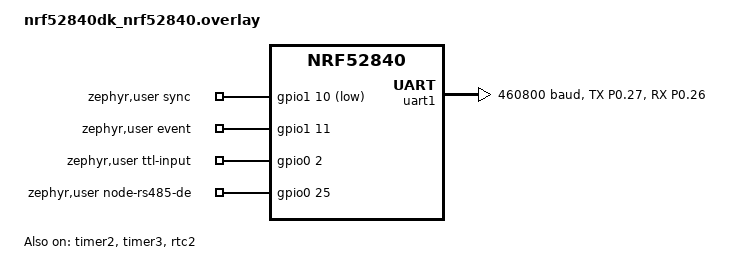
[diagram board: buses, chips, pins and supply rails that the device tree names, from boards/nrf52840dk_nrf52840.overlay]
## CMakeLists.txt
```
cmake_minimum_required(VERSION 3.20.0)
find_package(Zephyr REQUIRED HINTS $ENV{ZEPHYR_BASE})

project(hub)

target_sources(app PRIVATE src/main.c)
```

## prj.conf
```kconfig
CONFIG_I2C=y
CONFIG_SERIAL=y
CONFIG_CONSOLE=y
CONFIG_UART_CONSOLE=y
CONFIG_PRINTK=y
CONFIG_CBPRINTF_FULL_INTEGRAL=y

# Direct nrfx ownership of the hardware SYNC path and RTC mirror.
CONFIG_GPIO=n
CONFIG_NRFX_GPIOTE=y
CONFIG_NRFX_GPPI=y
CONFIG_NRFX_TIMER=y
CONFIG_NRFX_RTC=y

CONFIG_CLOCK_CONTROL=y
CONFIG_CLOCK_CONTROL_NRF=y
CONFIG_CLOCK_CONTROL_NRF_K32SRC_XTAL=y

CONFIG_BT=y
CONFIG_BT_CENTRAL=y
CONFIG_BT_PERIPHERAL=y
CONFIG_BT_DEVICE_NAME="hub"
CONFIG_BT_MAX_CONN=2
CONFIG_BT_GATT_CLIENT=y
CONFIG_BT_CTLR_SDC_PERIPHERAL_COUNT=1
CONFIG_BT_CTLR_SDC_CONN_ANCHOR_POINT_REPORT=y
CONFIG_BT_HCI_VS_EVT_USER=y
CONFIG_NRFX_GPIOTE_NUM_OF_EVT_HANDLERS=2

# The ttl_generator report is a 40-byte ATT notification, requiring MTU >= 43.
CONFIG_BT_L2CAP_TX_MTU=64
CONFIG_BT_BUF_ACL_RX_SIZE=68
CONFIG_BT_BUF_ACL_TX_SIZE=68

CONFIG_MAIN_STACK_SIZE=6144
CONFIG_SYSTEM_WORKQUEUE_STACK_SIZE=6144
CONFIG_ASSERT=y
CONFIG_LOG=n
CONFIG_UART_ASYNC_API=y

# TTL generator return TTL is now 3.3 V and uses digital GPIOTE, not COMP.
CONFIG_COMPARATOR=n
```

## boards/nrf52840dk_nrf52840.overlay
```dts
#include <zephyr/dt-bindings/gpio/gpio.h>
#include <zephyr/dt-bindings/pinctrl/nrf-pinctrl.h>

/ {
    zephyr,user {
        /* Hub hardware synchronization output to every node. */
        sync-gpios = <&gpio1 10 GPIO_ACTIVE_LOW>;

        /* Shared external event input. */
        event-gpios = <&gpio1 11 GPIO_ACTIVE_HIGH>;

        /* TTL generator is now 3.3 V: use a normal digital GPIOTE input. */
        ttl-input-gpios = <&gpio0 2 GPIO_ACTIVE_HIGH>;

        /* THVD1410 DE and /RE tied together: low=receive, high=transmit. */
        node-rs485-de-gpios = <&gpio0 25 GPIO_ACTIVE_HIGH>;
    };
};

&pinctrl {
    node_uart1_default: node_uart1_default {
        group1 {
            /* P0.27 -> THVD1410 D. */
            psels = <NRF_PSEL(UART_TX, 0, 27)>;
        };

        group2 {
            /* P0.26 <- THVD1410 R. */
            psels = <NRF_PSEL(UART_RX, 0, 26)>;
            bias-pull-up;
        };
    };

    node_uart1_sleep: node_uart1_sleep {
        group1 {
            psels = <NRF_PSEL(UART_TX, 0, 27)>,
                    <NRF_PSEL(UART_RX, 0, 26)>;
            low-power-enable;
        };
    };
};

&uart1 {
    compatible = "nordic,nrf-uarte";
    status = "okay";
    current-speed = <460800>;
    pinctrl-0 = <&node_uart1_default>;
    pinctrl-1 = <&node_uart1_sleep>;
    pinctrl-names = "default", "sleep";
};

&timer2 {
    status = "okay";
};

&timer3 {
    status = "okay";
};

&rtc2 {
    status = "okay";
};
```

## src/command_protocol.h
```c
#ifndef COMMAND_PROTOCOL_H
#define COMMAND_PROTOCOL_H

#include <stdint.h>

/* Fits in one ATT write/notification at the default 23-byte ATT MTU. */
#define HOST_FRAME_MAGIC 0xAD1EU
#define HOST_FRAME_VERSION 1U
#define HOST_FRAME_SIZE 20U

/* Requests sent from Host to the hub. */
#define HOST_MSG_CLOCK_SYNC_REQUEST 0x01U
#define HOST_MSG_NODE_DO_NOW_REQUEST 0x02U

/* Clock reply: timestamp=t2, value=(t3-t2) in the hub ticks. */
#define HOST_MSG_CLOCK_REPLY 0x81U

/* Command-stage notifications sent from the hub to Host. */
#define HOST_MSG_COMMAND_HUB_RX 0x90U
#define HOST_MSG_COMMAND_NODE_TX_START 0x91U
#define HOST_MSG_COMMAND_NODE_RX 0x92U
#define HOST_MSG_COMMAND_NODE_EXEC 0x93U
#define HOST_MSG_COMMAND_HUB_ACK_RX 0x94U
#define HOST_MSG_COMMAND_HUB_DONE_TX 0x95U
#define HOST_MSG_ERROR 0xFFU

#define HOST_STATUS_OK 0U
#define HOST_STATUS_BUSY 1U
#define HOST_STATUS_BAD_FRAME 2U
#define HOST_STATUS_I2C_WRITE_FAILED 3U
#define HOST_STATUS_TIMEOUT 4U
#define HOST_STATUS_NODE_MODEL_INVALID 5U
#define HOST_STATUS_TOKEN_MISMATCH 6U
#define HOST_STATUS_NOTIFY_FAILED 7U

/*
 * Compatibility aliases for older Host scripts. The wire values do not
 * change, so old and new software can interoperate during migration.
 */
#define HOST_MSG_REWARD_DO_NOW_REQUEST HOST_MSG_NODE_DO_NOW_REQUEST
#define HOST_MSG_COMMAND_I2C_TX_START HOST_MSG_COMMAND_NODE_TX_START
#define HOST_MSG_COMMAND_REWARD_RX HOST_MSG_COMMAND_NODE_RX
#define HOST_MSG_COMMAND_REWARD_EXEC HOST_MSG_COMMAND_NODE_EXEC
#define HOST_STATUS_REWARD_MODEL_INVALID HOST_STATUS_NODE_MODEL_INVALID

/*
 * Little-endian wire layout:
 *   0  u16 magic
 *   2  u8  version
 *   3  u8  message_type
 *   4  u32 sequence
 *   8  u64 timestamp
 *  16  u32 value/status/delta
 */
#define HOST_OFFSET_MAGIC 0U
#define HOST_OFFSET_VERSION 2U
#define HOST_OFFSET_TYPE 3U
#define HOST_OFFSET_SEQUENCE 4U
#define HOST_OFFSET_TIMESTAMP 8U
#define HOST_OFFSET_VALUE 16U

#endif
```
